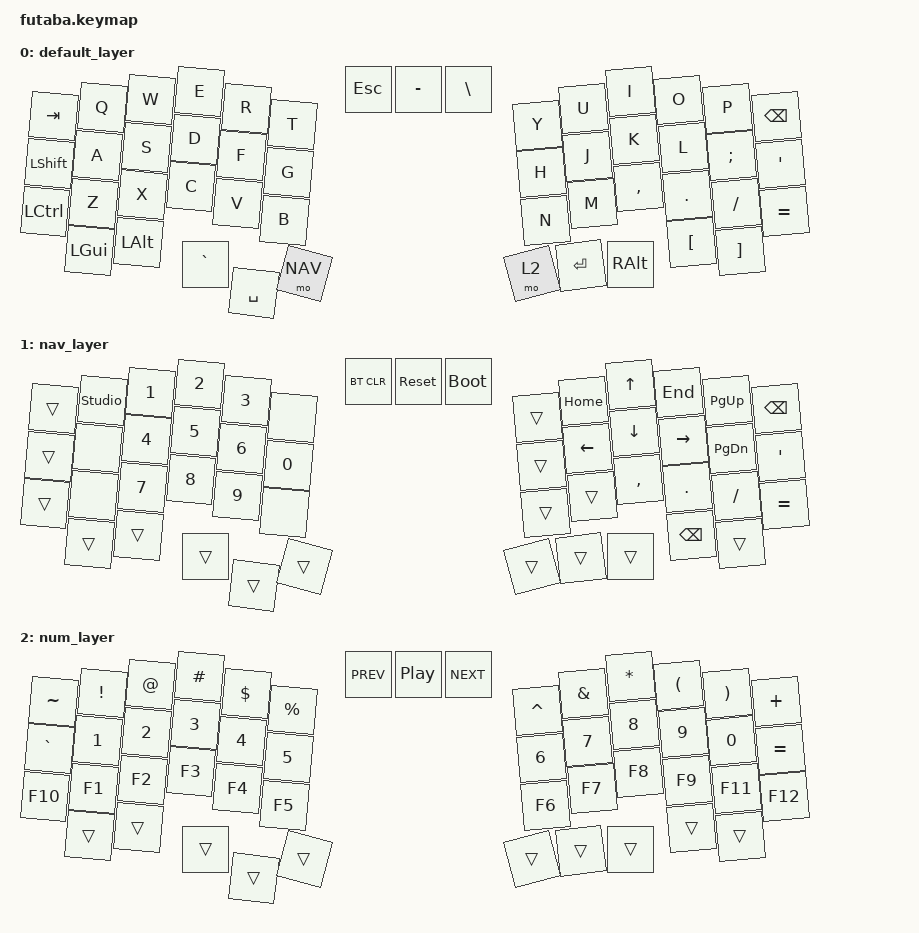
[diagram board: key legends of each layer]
/*
 * Copyright (c) 2026
 *
 * SPDX-License-Identifier: MIT
 */

#include <behaviors.dtsi>
#include <dt-bindings/zmk/bt.h>
#include <dt-bindings/zmk/keys.h>

#define NAV 1
#define NUM 2
#define L_NUM &lt NUM SPACE
#define R_NUM &lt NUM ENTER
#define L_LANG &mt LSHFT LANG2
#define R_LANG &mt RSHFT LANG1

&lt { quick-tap-ms = <200>; };

&mt { quick-tap-ms = <200>; };

/ {
    keymap {
        compatible = "zmk,keymap";

        default_layer {
            bindings = <
                &kp TAB         &kp Q     &kp W     &kp E      &kp R      &kp T             &kp Y      &kp U          &kp I      &kp O         &kp P          &kp BACKSPACE
                &kp LEFT_SHIFT  &kp A     &kp S     &kp D      &kp F      &kp G             &kp H      &kp J          &kp K      &kp L         &kp SEMI       &kp SQT
                &kp LCTRL       &kp Z     &kp X     &kp C      &kp V      &kp B             &kp N      &kp M          &kp COMMA  &kp DOT       &kp FSLH       &kp EQUAL
                                &kp LGUI  &kp LALT  &kp GRAVE  &kp SPACE  &mo NAV  &kp ESC  &kp MINUS  &kp BACKSLASH  &mo 2      &kp ENTER  &kp RIGHT_ALT  &kp LBKT       &kp RBKT
            >;
        };

        nav_layer {
            bindings = <
                &trans  &studio_unlock  &kp NUMBER_1  &kp NUMBER_2  &kp NUMBER_3  &none                     &trans      &kp HOME     &kp UP     &kp END    &kp PG_UP  &kp BACKSPACE
                &trans  &none           &kp NUMBER_4  &kp NUMBER_5  &kp NUMBER_6  &kp NUMBER_0              &trans      &kp LEFT     &kp DOWN   &kp RIGHT  &kp PG_DN  &kp SQT
                &trans  &none           &kp NUMBER_7  &kp NUMBER_8  &kp NUMBER_9  &none                     &trans      &trans       &kp COMMA  &kp DOT    &kp SLASH  &kp EQUAL
                                        &trans          &trans        &trans        &trans        &trans        &bt BT_CLR  &sys_reset  &bootloader  &trans     &trans     &trans     &kp BSPC       &trans
            >;
        };

        num_layer {
            bindings = <
                    &kp TILDE  &kp EXCL  &kp AT  &kp HASH  &kp DLLR  &kp PRCNT              &kp CARET     &kp AMPS    &kp STAR  &kp LPAR  &kp RPAR  &kp PLUS
                    &kp GRAVE  &kp N1    &kp N2  &kp N3    &kp N4    &kp N5                 &kp NUMBER_6  &kp N7      &kp N8    &kp N9    &kp N0    &kp EQUAL
                    &kp F10    &kp F1    &kp F2  &kp F3    &kp F4    &kp F5                 &kp F6        &kp F7      &kp F8    &kp F9    &kp F11   &kp F12
                                &trans    &trans  &trans    &trans    &trans     &kp C_PREV  &kp C_PP      &kp C_NEXT  &trans    &trans    &trans    &trans     &trans
            >;
        };
    };
};
